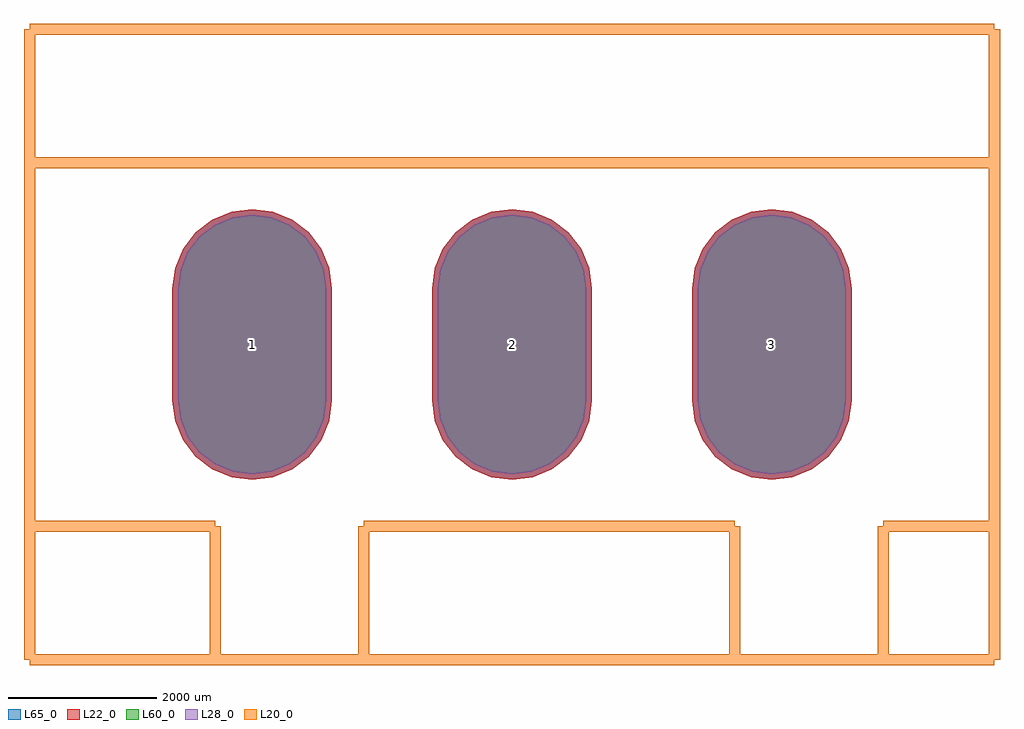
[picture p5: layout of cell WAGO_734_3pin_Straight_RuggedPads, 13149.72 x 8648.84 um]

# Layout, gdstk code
import gdstk
lib = gdstk.Library(unit=1e-6, precision=1e-09)
def P(c, l, *ps):  # polygons
    for p in ps: c.add(gdstk.Polygon(p, *l))
L20_0 = (20, 0)
L22_0 = (22, 0)
L28_0 = (28, 0)
L60_0 = (60, 0)
L65_0 = (65, 0)

wago_734_3pin_straight_r = lib.new_cell('WAGO_734_3pin_Straight_RuggedPads')
P(wago_734_3pin_straight_r, L22_0, [(3500.12,-1825.06),(3778.218,-1788.448),(4037.365,-1681.106),(4259.899,-1510.349),(4430.656,-1287.815),(4537.998,-1028.668),(4574.61,-750.57),(4574.61,750.57),(4537.998,1028.668),(4430.656,1287.815),(4259.899,1510.349),(4037.365,1681.106),(3778.218,1788.448),(3500.12,1825.06),(3222.022,1788.448),(2962.875,1681.106),(2740.341,1510.349),(2569.584,1287.815),(2462.242,1028.668),(2425.63,750.57),(2425.63,-750.57),(2462.242,-1028.668),(2569.584,-1287.815),(2740.341,-1510.349),(2962.875,-1681.106),(3222.022,-1788.448)],
  [(-3500.12,-1825.06),(-3222.022,-1788.448),(-2962.875,-1681.106),(-2740.341,-1510.349),(-2569.584,-1287.815),(-2462.242,-1028.668),(-2425.63,-750.57),(-2425.63,750.57),(-2462.242,1028.668),(-2569.584,1287.815),(-2740.341,1510.349),(-2962.875,1681.106),(-3222.022,1788.448),(-3500.12,1825.06),(-3778.218,1788.448),(-4037.365,1681.106),(-4259.899,1510.349),(-4430.656,1287.815),(-4537.998,1028.668),(-4574.61,750.57),(-4574.61,-750.57),(-4537.998,-1028.668),(-4430.656,-1287.815),(-4259.899,-1510.349),(-4037.365,-1681.106),(-3778.218,-1788.448)],
  [(0,-1825.06),(278.098,-1788.448),(537.245,-1681.106),(759.779,-1510.349),(930.536,-1287.815),(1037.878,-1028.668),(1074.49,-750.57),(1074.49,750.57),(1037.878,1028.668),(930.536,1287.815),(759.779,1510.349),(537.245,1681.106),(278.098,1788.448),(0,1825.06),(-278.098,1788.448),(-537.245,1681.106),(-759.779,1510.349),(-930.536,1287.815),(-1037.878,1028.668),(-1074.49,750.57),(-1074.49,-750.57),(-1037.878,-1028.668),(-930.536,-1287.815),(-759.779,-1510.349),(-537.245,-1681.106),(-278.098,-1788.448)])
P(wago_734_3pin_straight_r, L28_0, [(3500.12,-1750.06),(3758.807,-1716.003),(3999.865,-1616.154),(4206.866,-1457.316),(4365.704,-1250.315),(4465.553,-1009.257),(4499.61,-750.57),(4499.61,750.57),(4465.553,1009.257),(4365.704,1250.315),(4206.866,1457.316),(3999.865,1616.154),(3758.807,1716.003),(3500.12,1750.06),(3241.433,1716.003),(3000.375,1616.154),(2793.374,1457.316),(2634.536,1250.315),(2534.687,1009.257),(2500.63,750.57),(2500.63,-750.57),(2534.687,-1009.257),(2634.536,-1250.315),(2793.374,-1457.316),(3000.375,-1616.154),(3241.433,-1716.003)],
  [(-3500.12,-1750.06),(-3241.433,-1716.003),(-3000.375,-1616.154),(-2793.374,-1457.316),(-2634.536,-1250.315),(-2534.687,-1009.257),(-2500.63,-750.57),(-2500.63,750.57),(-2534.687,1009.257),(-2634.536,1250.315),(-2793.374,1457.316),(-3000.375,1616.154),(-3241.433,1716.003),(-3500.12,1750.06),(-3758.807,1716.003),(-3999.865,1616.154),(-4206.866,1457.316),(-4365.704,1250.315),(-4465.553,1009.257),(-4499.61,750.57),(-4499.61,-750.57),(-4465.553,-1009.257),(-4365.704,-1250.315),(-4206.866,-1457.316),(-3999.865,-1616.154),(-3758.807,-1716.003)],
  [(0,-1750.06),(258.687,-1716.003),(499.745,-1616.154),(706.746,-1457.316),(865.584,-1250.315),(965.433,-1009.257),(999.49,-750.57),(999.49,750.57),(965.433,1009.257),(865.584,1250.315),(706.746,1457.316),(499.745,1616.154),(258.687,1716.003),(0,1750.06),(-258.687,1716.003),(-499.745,1616.154),(-706.746,1457.316),(-865.584,1250.315),(-965.433,1009.257),(-999.49,750.57),(-999.49,-750.57),(-965.433,-1009.257),(-865.584,-1250.315),(-706.746,-1457.316),(-499.745,-1616.154),(-258.687,-1716.003)])
P(wago_734_3pin_straight_r, L60_0, [(3500.12,-1750.06),(3758.807,-1716.003),(3999.865,-1616.154),(4206.866,-1457.316),(4365.704,-1250.315),(4465.553,-1009.257),(4499.61,-750.57),(4499.61,750.57),(4465.553,1009.257),(4365.704,1250.315),(4206.866,1457.316),(3999.865,1616.154),(3758.807,1716.003),(3500.12,1750.06),(3241.433,1716.003),(3000.375,1616.154),(2793.374,1457.316),(2634.536,1250.315),(2534.687,1009.257),(2500.63,750.57),(2500.63,-750.57),(2534.687,-1009.257),(2634.536,-1250.315),(2793.374,-1457.316),(3000.375,-1616.154),(3241.433,-1716.003)],
  [(-3500.12,-1750.06),(-3241.433,-1716.003),(-3000.375,-1616.154),(-2793.374,-1457.316),(-2634.536,-1250.315),(-2534.687,-1009.257),(-2500.63,-750.57),(-2500.63,750.57),(-2534.687,1009.257),(-2634.536,1250.315),(-2793.374,1457.316),(-3000.375,1616.154),(-3241.433,1716.003),(-3500.12,1750.06),(-3758.807,1716.003),(-3999.865,1616.154),(-4206.866,1457.316),(-4365.704,1250.315),(-4465.553,1009.257),(-4499.61,750.57),(-4499.61,-750.57),(-4465.553,-1009.257),(-4365.704,-1250.315),(-4206.866,-1457.316),(-3999.865,-1616.154),(-3758.807,-1716.003)],
  [(0,-1750.06),(258.687,-1716.003),(499.745,-1616.154),(706.746,-1457.316),(865.584,-1250.315),(965.433,-1009.257),(999.49,-750.57),(999.49,750.57),(965.433,1009.257),(865.584,1250.315),(706.746,1457.316),(499.745,1616.154),(258.687,1716.003),(0,1750.06),(-258.687,1716.003),(-499.745,1616.154),(-706.746,1457.316),(-865.584,1250.315),(-965.433,1009.257),(-999.49,750.57),(-999.49,-750.57),(-965.433,-1009.257),(-865.584,-1250.315),(-706.746,-1457.316),(-499.745,-1616.154),(-258.687,-1716.003)])
P(wago_734_3pin_straight_r, L65_0, [(3500.12,-1825.06),(3778.218,-1788.448),(4037.365,-1681.106),(4259.899,-1510.349),(4430.656,-1287.815),(4537.998,-1028.668),(4574.61,-750.57),(4574.61,750.57),(4537.998,1028.668),(4430.656,1287.815),(4259.899,1510.349),(4037.365,1681.106),(3778.218,1788.448),(3500.12,1825.06),(3222.022,1788.448),(2962.875,1681.106),(2740.341,1510.349),(2569.584,1287.815),(2462.242,1028.668),(2425.63,750.57),(2425.63,-750.57),(2462.242,-1028.668),(2569.584,-1287.815),(2740.341,-1510.349),(2962.875,-1681.106),(3222.022,-1788.448)],
  [(-3500.12,-1825.06),(-3222.022,-1788.448),(-2962.875,-1681.106),(-2740.341,-1510.349),(-2569.584,-1287.815),(-2462.242,-1028.668),(-2425.63,-750.57),(-2425.63,750.57),(-2462.242,1028.668),(-2569.584,1287.815),(-2740.341,1510.349),(-2962.875,1681.106),(-3222.022,1788.448),(-3500.12,1825.06),(-3778.218,1788.448),(-4037.365,1681.106),(-4259.899,1510.349),(-4430.656,1287.815),(-4537.998,1028.668),(-4574.61,750.57),(-4574.61,-750.57),(-4537.998,-1028.668),(-4430.656,-1287.815),(-4259.899,-1510.349),(-4037.365,-1681.106),(-3778.218,-1788.448)],
  [(0,-1825.06),(278.098,-1788.448),(537.245,-1681.106),(759.779,-1510.349),(930.536,-1287.815),(1037.878,-1028.668),(1074.49,-750.57),(1074.49,750.57),(1037.878,1028.668),(930.536,1287.815),(759.779,1510.349),(537.245,1681.106),(278.098,1788.448),(0,1825.06),(-278.098,1788.448),(-537.245,1681.106),(-759.779,1510.349),(-930.536,1287.815),(-1037.878,1028.668),(-1074.49,750.57),(-1074.49,-750.57),(-1037.878,-1028.668),(-930.536,-1287.815),(-759.779,-1510.349),(-537.245,-1681.106),(-278.098,-1788.448)])
wago_734_3pin_straight_r.add(gdstk.FlexPath([(6499.86,-4249.42),(0,-4249.42)], 149.998, ends="flush", simple_path=True, layer=20, datatype=0))  # L20_0
wago_734_3pin_straight_r.add(gdstk.FlexPath([(6499.86,4249.42),(6499.86,-4249.42)], 149.998, ends="flush", simple_path=True, layer=20, datatype=0))  # L20_0
wago_734_3pin_straight_r.add(gdstk.FlexPath([(-6499.86,4249.42),(6499.86,4249.42)], 149.998, ends="flush", simple_path=True, layer=20, datatype=0))  # L20_0
wago_734_3pin_straight_r.add(gdstk.FlexPath([(-6499.86,-4249.42),(-6499.86,4249.42)], 149.998, ends="flush", simple_path=True, layer=20, datatype=0))  # L20_0
wago_734_3pin_straight_r.add(gdstk.FlexPath([(0,-4249.42),(-6499.86,-4249.42)], 149.998, ends="flush", simple_path=True, layer=20, datatype=0))  # L20_0
wago_734_3pin_straight_r.add(gdstk.FlexPath([(-4000.5,-2451.1),(-4000.5,-4249.42)], 149.998, ends="flush", simple_path=True, layer=20, datatype=0))  # L20_0
wago_734_3pin_straight_r.add(gdstk.FlexPath([(-6499.86,-2451.1),(-4000.5,-2451.1)], 149.998, ends="flush", simple_path=True, layer=20, datatype=0))  # L20_0
wago_734_3pin_straight_r.add(gdstk.FlexPath([(2999.74,-2451.1),(2999.74,-4249.42)], 149.998, ends="flush", simple_path=True, layer=20, datatype=0))  # L20_0
wago_734_3pin_straight_r.add(gdstk.FlexPath([(-1998.98,-2451.1),(2999.74,-2451.1)], 149.998, ends="flush", simple_path=True, layer=20, datatype=0))  # L20_0
wago_734_3pin_straight_r.add(gdstk.FlexPath([(-1998.98,-4249.42),(-1998.98,-2451.1)], 149.998, ends="flush", simple_path=True, layer=20, datatype=0))  # L20_0
wago_734_3pin_straight_r.add(gdstk.FlexPath([(5001.26,-2451.1),(6499.86,-2451.1)], 149.998, ends="flush", simple_path=True, layer=20, datatype=0))  # L20_0
wago_734_3pin_straight_r.add(gdstk.FlexPath([(5001.26,-4249.42),(5001.26,-2451.1)], 149.998, ends="flush", simple_path=True, layer=20, datatype=0))  # L20_0
wago_734_3pin_straight_r.add(gdstk.FlexPath([(-6499.86,2451.1),(6499.86,2451.1)], 149.998, ends="flush", simple_path=True, layer=20, datatype=0))  # L20_0
wago_734_3pin_straight_r.add(gdstk.Label('3', (3500.12,0), layer=28, texttype=0))
wago_734_3pin_straight_r.add(gdstk.Label('1', (-3500.12,0), layer=28, texttype=0))
wago_734_3pin_straight_r.add(gdstk.Label('2', (0,0), layer=28, texttype=0))
wago_734_3pin_straight_r.add(gdstk.Label('type', (0,-6350), layer=9, texttype=0))
wago_734_3pin_straight_r.add(gdstk.Label('devicename', (0,6350), layer=9, texttype=0))

lib.write_gds('WAGO_734_3pin_Straight_RuggedPads.gds')
